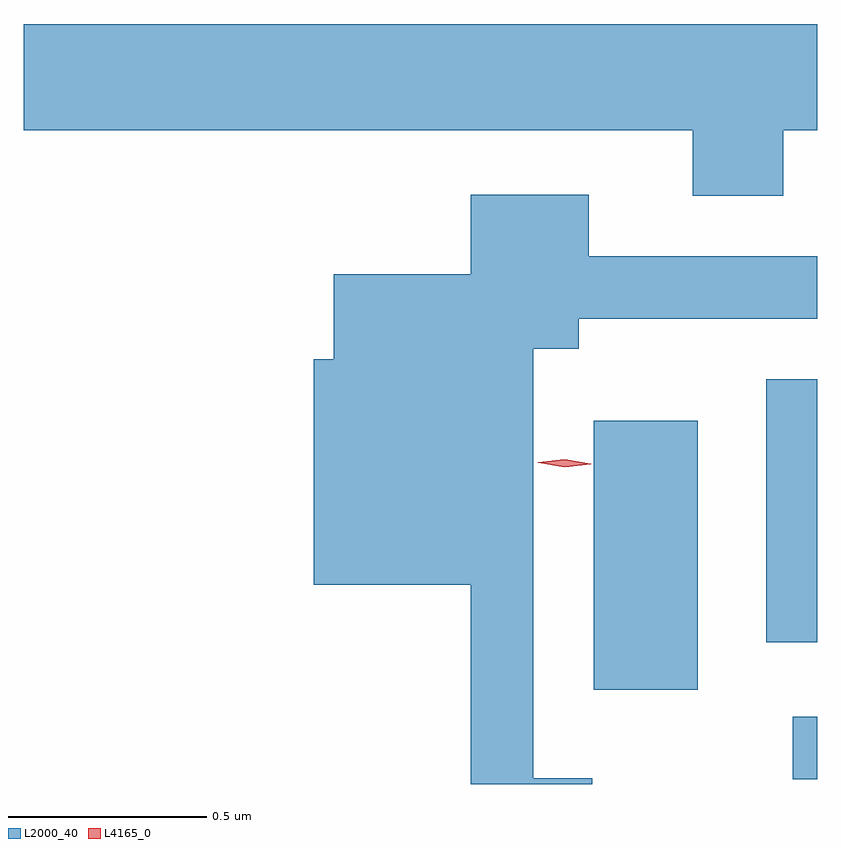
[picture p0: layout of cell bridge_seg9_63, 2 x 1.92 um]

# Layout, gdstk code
import gdstk
lib = gdstk.Library(unit=1e-6, precision=1e-09)
def R(c, l, rs):  # rectangles x0, y0, x1, y1
    for r in rs: c.add(gdstk.rectangle(r[:2], r[2:], *l))
def P(c, l, *ps):  # polygons
    for p in ps: c.add(gdstk.Polygon(p, *l))
L2000_40 = (2000, 40)
L4165_0 = (4165, 0)

bridge_seg9_63 = lib.new_cell('bridge_seg9_63')
R(bridge_seg9_63, L2000_40, [(1597.683,1979.081,1597.745,1979.239), (1597.181,1979.306,1597.444,1979.984), (1597.616,1979.426,1597.745,1980.089)])
P(bridge_seg9_63, L2000_40, [(1597.659,1980.716),(1597.745,1980.716),(1597.745,1980.984),(1595.745,1980.984),(1595.745,1980.716),(1597.431,1980.716),(1597.431,1980.551),(1597.659,1980.551)],
  [(1597.178,1979.084),(1597.029,1979.084),(1597.029,1980.166),(1597.144,1980.166),(1597.144,1980.241),(1597.745,1980.241),(1597.745,1980.399),(1597.169,1980.399),(1597.169,1980.554),(1596.871,1980.554),(1596.871,1980.354),(1596.526,1980.354),(1596.526,1980.139),(1596.476,1980.139),(1596.476,1979.571),(1596.871,1979.571),(1596.871,1979.069),(1597.178,1979.069)])
P(bridge_seg9_63, L4165_0, [(1597.108,1979.867),(1597.042,1979.879),(1597.041,1979.879),(1597.042,1979.88),(1597.108,1979.887),(1597.174,1979.876),(1597.175,1979.876),(1597.174,1979.875)])

lib.write_gds('bridge_seg9_63.gds')
